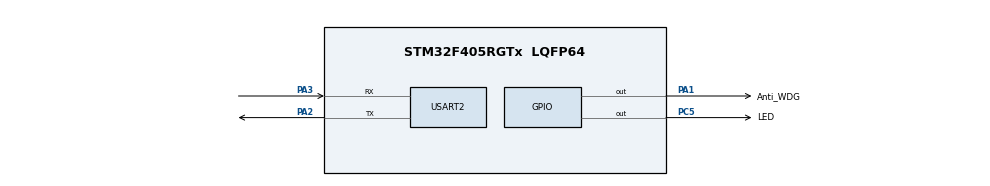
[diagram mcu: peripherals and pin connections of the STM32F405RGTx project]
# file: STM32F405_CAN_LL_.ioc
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Mcu.Family=STM32F4
Mcu.Name=STM32F405RGTx
Mcu.Package=LQFP64
NVIC.PriorityGroup=NVIC_PRIORITYGROUP_4
PA1.GPIO_Label=Anti_WDG
PA1.Signal=GPIO_Output
PA13.Mode=Serial_Wire
PA13.Signal=SYS_JTMS-SWDIO
PA14.Mode=Serial_Wire
PA14.Signal=SYS_JTCK-SWCLK
PA2.Mode=Asynchronous
PA2.Signal=USART2_TX
PA3.Mode=Asynchronous
PA3.Signal=USART2_RX
PC5.GPIO_Label=LED
PC5.Signal=GPIO_Output
PH0-OSC_IN.Mode=HSE-External-Oscillator
PH0-OSC_IN.Signal=RCC_OSC_IN
PH1-OSC_OUT.Mode=HSE-External-Oscillator
PH1-OSC_OUT.Signal=RCC_OSC_OUT
ProjectManager.HeapSize=0x200
ProjectManager.StackSize=0x400
ProjectManager.TargetToolchain=STM32CubeIDE
RCC.48MHZClocksFreq_Value=96000000
RCC.AHBCLKDivider=RCC_SYSCLK_DIV2
RCC.AHBFreq_Value=48000000
RCC.APB1CLKDivider=RCC_HCLK_DIV2
RCC.APB1Freq_Value=24000000
RCC.APB1TimFreq_Value=48000000
RCC.APB2Freq_Value=48000000
RCC.APB2TimFreq_Value=48000000
RCC.CortexFreq_Value=48000000
RCC.HCLKFreq_Value=48000000
RCC.HSE_VALUE=8000000
RCC.HSI_VALUE=16000000
RCC.LSE_VALUE=32768
RCC.PLLM=4
RCC.PLLP=RCC_PLLP_DIV4
RCC.PLLSourceVirtual=RCC_PLLSOURCE_HSE
RCC.SYSCLKFreq_VALUE=96000000
RCC.SYSCLKSource=RCC_SYSCLKSOURCE_PLLCLK
RCC.VCOOutputFreq_Value=384000000
USART2.VirtualMode=VM_ASYNC
board=custom

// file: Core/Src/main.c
/* USER CODE BEGIN Header */
/**
 ******************************************************************************
 * @file           : main.c
 * @brief          : Main program body
 ******************************************************************************
 * @attention
 *
 * Copyright (c) 2024 STMicroelectronics.
 * All rights reserved.
 *
 * This software is licensed under terms that can be found in the LICENSE file
 * in the root directory of this software component.
 * If no LICENSE file comes with this software, it is provided AS-IS.
 *
 ******************************************************************************
 */
/* USER CODE END Header */
#include "main.h"

/* USER CODE BEGIN Includes */
#include "stm32f4_can_ll.h"
#include <string.h>
// #include "CAN_GPIO.h"
/* USER CODE END Includes */

UART_HandleTypeDef huart2;

/* USER CODE BEGIN PV */
LL_CAN_Handler_t hcan1;
LL_CAN_FilterTypeDef_t hfilter1;
LL_CAN_TxHeaderTypeDef_t Txheader;
LL_CAN_RxHeaderTypeDef_t Rxheader;
uint8_t data[8] = {0x10, 0x20, 0x30, 0x40, 0x50, 0x60, 0x70, 0x80};
uint8_t data1[8] = {11, 12, 13, 14, 15, 11, 12, 13};
uint8_t rxdata[8];
char msg[70];

uint32_t TxMailBox;
/* USER CODE END PV */

void SystemClock_Config(void);
static void MX_GPIO_Init(void);
static void MX_USART2_UART_Init(void);
/* USER CODE BEGIN PFP */
void Anti_WDG();
void Can_Rx();
void Can_Tx();
/* USER CODE END PFP */

int main(void)
{

  /* MCU Configuration--------------------------------------------------------*/

  /* Reset of all peripherals, Initializes the Flash interface and the Systick. */
  HAL_Init();

  /* Configure the system clock */
  SystemClock_Config();

  /* Initialize all configured peripherals */
  MX_GPIO_Init();
  MX_USART2_UART_Init();
  /* USER CODE BEGIN 2 */
  hcan1.Instance = _CAN1;

  LL_GPIO_SetOutputPin(GPIOC, LL_GPIO_PIN_5);

  if (LL_CAN_GPIO_Init(&hcan1) == ERROR)
  {
    sprintf(msg, "GPIO initialization fail\n");
    HAL_UART_Transmit(&huart2, (uint8_t *)msg, 50, 1000);
  }
  else
  {
    sprintf(msg, "GPIO initialization successfully\n");
    HAL_UART_Transmit(&huart2, (uint8_t *)msg, 50, 1000);
  }

  //  // Config NVIC
  NVIC_SetPriority(CAN1_TX_IRQn, NVIC_EncodePriority(NVIC_GetPriorityGrouping(), 15, 0));
  NVIC_SetPriority(CAN1_RX0_IRQn, NVIC_EncodePriority(NVIC_GetPriorityGrouping(), 15, 0));
  NVIC_EnableIRQ(CAN1_RX0_IRQn);
  NVIC_EnableIRQ(CAN1_TX_IRQn);

  // Enable interrupt
  LL_CAN_ActivateInterrupt(&hcan1, _CAN_IT_RX_FIFO0_MSG_PENDING_Pos | _CAN_IT_TX_MAILBOX_EMPTY_Pos);

  // Set flag to
  hcan1.Init.Prescaler = 2;
  hcan1.Init.SyncJumpWidth = _CAN_SJW_1TQ;
  hcan1.Init.TimeSeg1 = _CAN_BS1_10TQ;
  hcan1.Init.TimeSeg2 = _CAN_BS2_1TQ;
  hcan1.Init.Mode = _NORMAL_MODE;
  hcan1.Init.status.AutoBusOff = DISABLE;
  hcan1.Init.status.AutoRetransmission = ENABLE;
  hcan1.Init.status.AutoWakeUp = DISABLE;
  hcan1.Init.status.ReceiveFifoLocked = DISABLE;
  hcan1.Init.status.TimeTriggeredMode = DISABLE;
  hcan1.Init.status.TransmitFifoPriority = DISABLE;

  if (LL_CAN_Init(&hcan1) == ERROR)
  {
    sprintf(msg, "Can initialization fail\n");
    HAL_UART_Transmit(&huart2, (uint8_t *)msg, strlen(msg), 1000);
  }
  else
  {
    sprintf(msg, "CAN initialization successfully\n");
    HAL_UART_Transmit(&huart2, (uint8_t *)msg, strlen(msg), 1000);
  }

  // Set up config filter
  hfilter1.FilterActivation = _CAN_FILTER_ENABLE;
  hfilter1.FilterBank = 0;
  hfilter1.FilterFIFOAssignment = _CAN_FILTER_FIFO0;
  hfilter1.FilterIdHigh = 0;
  hfilter1.FilterIdLow = 0;
  hfilter1.FilterMaskIdHigh = 0;
  hfilter1.FilterMaskIdLow = 0;
  hfilter1.FilterMode = _CAN_FILTERMODE_IDMASK;
  hfilter1.FilterScale = _CAN_FILTERSCALE_32BIT;
  LL_CAN_ConfigFilter(&hcan1, &hfilter1);

  // Enable interrupt
  LL_CAN_ActivateInterrupt(&hcan1, _CAN_IT_RX_FIFO0_MSG_PENDING_Pos | _CAN_IT_TX_MAILBOX_EMPTY_Pos);

  // Start Can
  if (LL_CAN_Start(&hcan1) == ERROR)
  {
    sprintf(msg, "Can start fail\n");
    HAL_UART_Transmit(&huart2, (uint8_t *)msg, strlen(msg), 1000);
  }
  else
  {
    sprintf(msg, "CAN start successfully\n");
    HAL_UART_Transmit(&huart2, (uint8_t *)msg, strlen(msg), 1000);
  }

  Txheader.StdId = 135;
  Txheader._DLC = 6;
  Txheader._RTR = _CAN_RTR_DATA;
  Txheader._IDE = _CAN_ID_STD;
  Txheader.TransmitGlobalTime = DISABLE;

  /* USER CODE END 2 */

  Can_Tx();
  /* Infinite loop */
  while (1)
  {

    /* USER CODE BEGIN 3 */

//    Anti_WDG();
  }
  /* USER CODE END 3 */
}

void SystemClock_Config(void)
{
  LL_FLASH_SetLatency(LL_FLASH_LATENCY_1);
  while (LL_FLASH_GetLatency() != LL_FLASH_LATENCY_1)
  {
  }
  LL_PWR_SetRegulVoltageScaling(LL_PWR_REGU_VOLTAGE_SCALE1);
  LL_RCC_HSE_Enable();

  /* Wait till HSE is ready */
  while (LL_RCC_HSE_IsReady() != 1)
  {
  }
  LL_RCC_PLL_ConfigDomain_SYS(LL_RCC_PLLSOURCE_HSE, LL_RCC_PLLM_DIV_4, 192, LL_RCC_PLLP_DIV_4);
  LL_RCC_PLL_Enable();

  /* Wait till PLL is ready */
  while (LL_RCC_PLL_IsReady() != 1)
  {
  }
  while (LL_PWR_IsActiveFlag_VOS() == 0)
  {
  }
  LL_RCC_SetAHBPrescaler(LL_RCC_SYSCLK_DIV_2);
  LL_RCC_SetAPB1Prescaler(LL_RCC_APB1_DIV_2);
  LL_RCC_SetAPB2Prescaler(LL_RCC_APB2_DIV_1);
  LL_RCC_SetSysClkSource(LL_RCC_SYS_CLKSOURCE_PLL);

  /* Wait till System clock is ready */
  while (LL_RCC_GetSysClkSource() != LL_RCC_SYS_CLKSOURCE_STATUS_PLL)
  {
  }
  LL_SetSystemCoreClock(48000000);

  /* Update the time base */
  if (HAL_InitTick(TICK_INT_PRIORITY) != HAL_OK)
  {
    Error_Handler();
  }
}

static void MX_USART2_UART_Init(void)
{

  huart2.Instance = USART2;
  huart2.Init.BaudRate = 115200;
  huart2.Init.WordLength = UART_WORDLENGTH_8B;
  huart2.Init.StopBits = UART_STOPBITS_1;
  huart2.Init.Parity = UART_PARITY_NONE;
  huart2.Init.Mode = UART_MODE_TX_RX;
  huart2.Init.HwFlowCtl = UART_HWCONTROL_NONE;
  huart2.Init.OverSampling = UART_OVERSAMPLING_16;
  if (HAL_UART_Init(&huart2) != HAL_OK)
  {
    Error_Handler();
  }
}

static void MX_GPIO_Init(void)
{
  LL_GPIO_InitTypeDef GPIO_InitStruct = {0};

  /* GPIO Ports Clock Enable */
  LL_AHB1_GRP1_EnableClock(LL_AHB1_GRP1_PERIPH_GPIOH);
  LL_AHB1_GRP1_EnableClock(LL_AHB1_GRP1_PERIPH_GPIOA);
  LL_AHB1_GRP1_EnableClock(LL_AHB1_GRP1_PERIPH_GPIOC);

  /**/
  LL_GPIO_ResetOutputPin(Anti_WDG_GPIO_Port, Anti_WDG_Pin);

  /**/
  LL_GPIO_ResetOutputPin(LED_GPIO_Port, LED_Pin);

  /**/
  GPIO_InitStruct.Pin = Anti_WDG_Pin;
  GPIO_InitStruct.Mode = LL_GPIO_MODE_OUTPUT;
  GPIO_InitStruct.Speed = LL_GPIO_SPEED_FREQ_LOW;
  GPIO_InitStruct.OutputType = LL_GPIO_OUTPUT_PUSHPULL;
  GPIO_InitStruct.Pull = LL_GPIO_PULL_NO;
  LL_GPIO_Init(Anti_WDG_GPIO_Port, &GPIO_InitStruct);

  /**/
  GPIO_InitStruct.Pin = LED_Pin;
  GPIO_InitStruct.Mode = LL_GPIO_MODE_OUTPUT;
  GPIO_InitStruct.Speed = LL_GPIO_SPEED_FREQ_LOW;
  GPIO_InitStruct.OutputType = LL_GPIO_OUTPUT_PUSHPULL;
  GPIO_InitStruct.Pull = LL_GPIO_PULL_NO;
  LL_GPIO_Init(LED_GPIO_Port, &GPIO_InitStruct);

}

/* USER CODE BEGIN 4 */
void Anti_WDG()
{
  HAL_GPIO_WritePin(GPIOA, GPIO_PIN_1, 1);
  HAL_Delay(200);
  HAL_GPIO_WritePin(GPIOA, GPIO_PIN_1, 0);
  HAL_Delay(1000);
}

void Can_Rx()
{
  if (LL_CAN_GetRxFifoFillLevel(&hcan1, _CAN_RX_FIFO0) != 0)
  {
    if (LL_CAN_GetRxMessage(&hcan1, &Rxheader, rxdata, _CAN_RX_FIFO0) == ERROR)
    {
      sprintf(msg, "Receive Fail\n");
      HAL_UART_Transmit(&huart2, (uint8_t *)msg, strlen(msg), 1000);
    }
  }
}
void Can_Tx()
{
  if (LL_CAN_AddTxMessage(&hcan1, data1, &Txheader, &TxMailBox) == ERROR)
  {
    //          if (LL_CAN_IsTxMessagePending(&hcan1, &TxMailBox) == SUCCESS)
    //          {
    //            LL_GPIO_TogglePin(GPIOC, LL_GPIO_PIN_5);
    //          }
    sprintf(msg, "Transmit Fail\n");
    HAL_UART_Transmit(&huart2, (uint8_t *)msg, strlen(msg), 1000);
  }
}

void LL_CAN_TxMailbox0CompleteCallback(LL_CAN_Handler_t *hcan)
{
  sprintf(msg, "Transmit Successfully M0\n");
  HAL_UART_Transmit(&huart2, (uint8_t *)msg, strlen(msg), 1000);
}
void LL_CAN_TxMailbox1CompleteCallback(LL_CAN_Handler_t *hcan)
{
  sprintf(msg, "Transmit Successfully M1\n");
  HAL_UART_Transmit(&huart2, (uint8_t *)msg, strlen(msg), 1000);
}
void LL_CAN_TxMailbox2CompleteCallback(LL_CAN_Handler_t *hcan)
{
  sprintf(msg, "Transmit Successfully M2\n");
  HAL_UART_Transmit(&huart2, (uint8_t *)msg, strlen(msg), 1000);
}
void LL_CAN_RxFifo0MsgPendingCallback(LL_CAN_Handler_t *hcan)
{
  if (LL_CAN_GetRxMessage(&hcan1, &Rxheader, rxdata, _CAN_RX_FIFO0) == ERROR)
  {
    sprintf(msg, "Receive Fail\n");
    HAL_UART_Transmit(&huart2, (uint8_t *)msg, strlen(msg), 1000);
  }
  else
  {
	  if (LL_CAN_AddTxMessage(&hcan1, rxdata, &Txheader, &TxMailBox) == ERROR)
	  {
	    sprintf(msg, "Receive and Transmit Successfully\n");
	    HAL_UART_Transmit(&huart2, (uint8_t *)msg, strlen(msg), 1000);
	  }
    sprintf(msg, "string\n");
//    HAL_UART_Transmit(&huart2, (uint8_t *)msg, strlen(msg), 1000);
    for (int i = 0; i < Rxheader._DLC; i++)
    {
    	HAL_UART_Transmit(&huart2, (uint8_t *)msg, strlen(msg), 1000);
//    	HAL_UART_Transmit(&huart2, (uint8_t *)rxdata, 8, 1000);
    }
    sprintf(msg, "Receive Successfully\n");
    HAL_UART_Transmit(&huart2, (uint8_t *)msg, strlen(msg), 1000);
    LL_GPIO_TogglePin(GPIOC, LL_GPIO_PIN_5);
  }
}
/* USER CODE END 4 */

void Error_Handler(void)
{
  __disable_irq();
  while (1)
  {
  }
}
